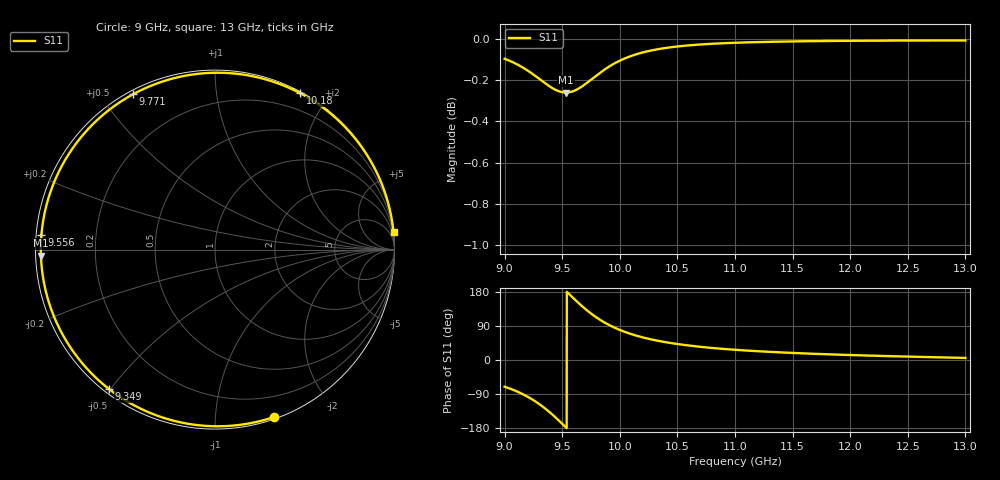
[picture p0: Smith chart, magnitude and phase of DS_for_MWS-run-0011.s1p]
! TOUCHSTONE file generated by CST DESIGN STUDIO
! Date and time: Tue Feb  4 12:39:15 2025
! Project name: C:\Work\MatlabApps\UnitCellOptimizationMatlab\CST\unitcell.cst
! Tree item: Tasks\Sweep1\SPara1\S-Parameters
! Header version: 2024
! Port assignment regex: !\s*Touchstone port\s*([0-9]+)\s*=\s*(CST MWS port|CST DES external port|CST DES block port)\s*(.+)\s* \(\"(.*)\"\)(\s*mode\s*([0-9]+))?.*
! Touchstone port assignment:
! Touchstone port 1 = CST DES external port 1 ("")
# GHz S MA R 50
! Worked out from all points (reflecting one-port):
!   4001 points, 9 GHz to 13 GHz, reference 50 ohm
!   lowest |S11| = -0.3 dB at 9.533 GHz (marker M1), VSWR 66.87, Z = 0.748 - j0.855 ohm
!   phase of S11 starts at -70 deg and turns -284 deg over the sweep
!   S11 on the Smith chart (normalised r, x): 9 GHz: 0.02, -1.42; 9.349 GHz: 0.02, -0.50; 9.556 GHz: 0.01, +0.04; 9.771 GHz: 0.01, +0.60; 10.18 GHz: 0.02, +1.68; 13 GHz: 0, +21
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9  0.9891 -70.4
9.098  0.9863 -81.8
9.206  0.9823 -98.0
9.281  0.9789 -112.1
9.349  0.9757 -127.3
9.421  0.9727 -145.8
9.462  0.9715 -157.2
9.5  0.9707 -168.3
9.533  0.9705 -178.0
9.556  0.9706 175.1
9.61  0.9716 159.3
9.67  0.9738 142.6
9.72  0.9761 129.8
9.771  0.9786 117.9
9.819  0.9809 107.9
9.872  0.9833 98.1
9.931  0.9857 88.7
10  0.988 79.3
10.085  0.9903 69.8
10.177  0.9922 61.4
10.324  0.9943 51.1
10.5  0.9959 42.1
10.721  0.9971 34.1
11  0.998 27.0
11.5  0.9987 18.6
12  0.999 13.1
12.5  0.9992 8.9
13  0.9992 5.5
